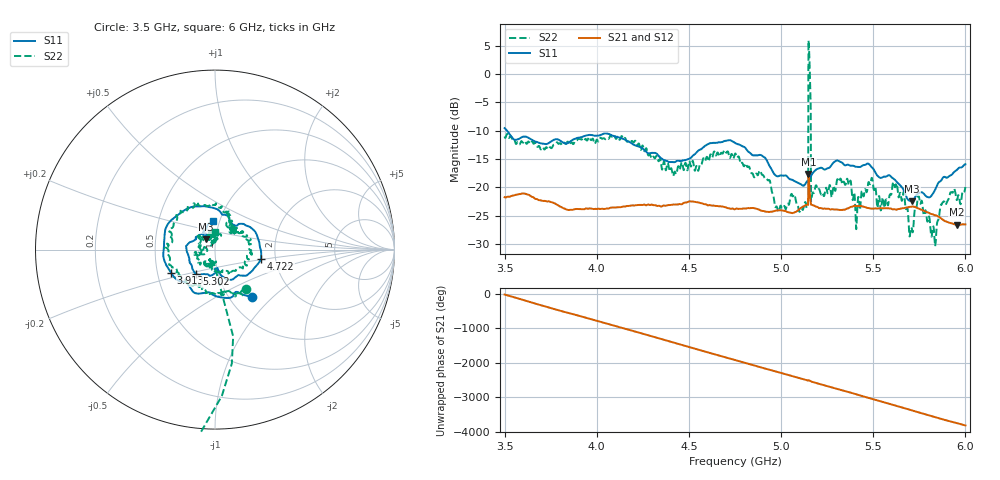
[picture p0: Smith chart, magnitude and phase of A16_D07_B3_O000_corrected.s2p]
! Created with skrf 1.9.0 (http://scikit-rf.org).
# Hz S RI R 50.0
!freq ReS11 ImS11 ReS21 ImS21 ReS12 ImS12 ReS22 ImS22
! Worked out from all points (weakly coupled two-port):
!   1601 points, 3.5 GHz to 6 GHz, reference 50 ohm
!   highest |S21| = -17.64 dB at 5.148 GHz (marker M1); lowest = -26.6 dB at 5.953 GHz (marker M2)
!   lowest |S11| = -22.5 dB at 5.711 GHz (marker M3), VSWR 1.16, Z = 45 + j5.1 ohm
!   |S11| at or under -10 dB: 3.513 GHz to end of sweep
!   |S22| runs from -30.4 to 6.0 dB; largest |S21 - S12| = 0.001
!   S11 on the Smith chart (normalised r, x): 3.5 GHz: 1.27, -0.75; 3.913 GHz: 0.59, -0.17; 4.722 GHz: 1.68, -0.19; 5.302 GHz: 0.78, -0.22; 6 GHz: 0.93, +0.31
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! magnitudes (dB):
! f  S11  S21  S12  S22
! 3.5 GHz  -9.5  -21.7  -21.7  -11.0
! 3.913 GHz  -11.2  -23.9  -23.8  -11.5
! 3.917 GHz  -11.1  -23.9  -23.9  -11.5
! 4.334 GHz  -14.4  -23.3  -23.2  -15.4
! 4.722 GHz  -11.7  -23.7  -23.7  -14.8
! 4.75 GHz  -12.2  -23.9  -23.8  -14.1
! 5.109 GHz  -19.5  -23.6  -23.6  -23.6
! 5.134 GHz  -19.2  -23.1  -23.1  -22.9
! 5.148 GHz  -18.6  -17.6  -17.6  6.0
! 5.161 GHz  -18.1  -22.6  -22.6  -6.1
! 5.167 GHz  -17.7  -23.1  -23.1  -21.5
! 5.175 GHz  -17.4  -23.2  -23.1  -21.0
! 5.302 GHz  -15.3  -23.9  -23.9  -19.0
! 5.416 GHz  -16.4  -23.3  -23.4  -22.7
! 5.484 GHz  -16.2  -23.8  -23.7  -19.3
! 5.584 GHz  -17.9  -23.7  -23.7  -22.4
! 5.619 GHz  -18.7  -23.9  -23.9  -20.0
! 5.711 GHz  -22.5  -23.4  -23.4  -27.5
! 5.753 GHz  -20.9  -23.9  -23.8  -22.5
! 5.828 GHz  -20.9  -24.9  -24.8  -27.2
! 5.953 GHz  -16.9  -26.6  -26.6  -22.3
! 6 GHz  -15.9  -26.6  -26.5  -20.0
